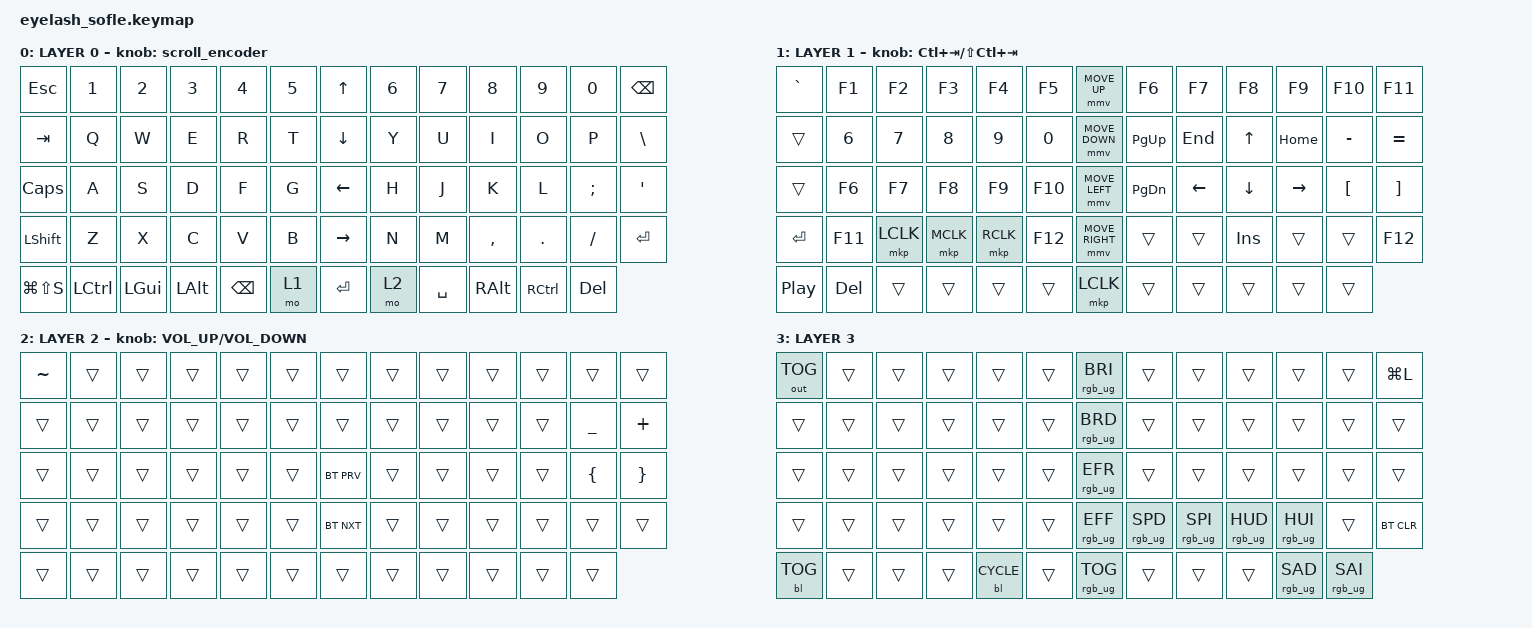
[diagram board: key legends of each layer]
#define ZMK_POINTING_DEFAULT_MOVE_VAL 1200  // 600
#define ZMK_POINTING_DEFAULT_SCRL_VAL 25   // 10

#include <input/processors.dtsi>
#include <zephyr/dt-bindings/input/input-event-codes.h>
#include <behaviors.dtsi>
#include <dt-bindings/zmk/backlight.h>
#include <dt-bindings/zmk/bt.h>
#include <dt-bindings/zmk/keys.h>
#include <dt-bindings/zmk/outputs.h>
#include <dt-bindings/zmk/pointing.h>
#include <dt-bindings/zmk/rgb.h>

&mmv_input_listener { input-processors = <&zip_xy_scaler 2 1>; };

&msc_input_listener { input-processors = <&zip_scroll_scaler 2 1>; };

&msc {
    acceleration-exponent = <1>;      // 0
    time-to-max-speed-ms = <100>;       // 300
    delay-ms = <0>;                   // 0
};

&mmv {
    time-to-max-speed-ms = <500>;
    acceleration-exponent = <1>;
    trigger-period-ms = <16>;
};

/ {

    scroll_encoder: scroll_encoder {
        compatible = "zmk,behavior-sensor-rotate";
        #sensor-binding-cells = <0>;
        bindings = <&msc SCRL_DOWN>, <&msc SCRL_UP>;
        tap-ms = <100>;
    };

    keymap {
        compatible = "zmk,keymap";

        layer0 {
            bindings = <
&kp ESC        &kp N1     &kp N2        &kp N3        &kp N4         &kp N5    &kp UP_ARROW     &kp N6  &kp N7     &kp N8         &kp N9     &kp N0      &kp BACKSPACE
&kp TAB        &kp Q      &kp W         &kp E         &kp R          &kp T     &kp DOWN_ARROW   &kp Y   &kp U      &kp I          &kp O      &kp P       &kp BSLH
&kp CAPS       &kp A      &kp S         &kp D         &kp F          &kp G     &kp LEFT_ARROW   &kp H   &kp J      &kp K          &kp L      &kp SEMI    &kp APOS
&kp LSHFT      &kp Z      &kp X         &kp C         &kp V          &kp B     &kp RIGHT_ARROW  &kp N   &kp M      &kp COMMA      &kp DOT    &kp FSLH    &kp ENTER
&kp LG(LS(S))  &kp LCTRL  &kp LEFT_GUI  &kp LEFT_ALT  &kp BACKSPACE  &mo 1     &kp ENTER        &mo 2   &kp SPACE  &kp RIGHT_ALT  &kp RCTRL  &kp DELETE
            >;

            sensor-bindings = <&scroll_encoder>;
            display-name = "LAYER 0";
        };

        layer_1 {
            bindings = <
&kp GRAVE         &kp F1        &kp F2     &kp F3     &kp F4     &kp F5     &mmv MOVE_UP     &kp F6     &kp F7    &kp F8      &kp F9     &kp F10           &kp F11
&trans            &kp NUMBER_6  &kp N7     &kp N8     &kp N9     &kp N0     &mmv MOVE_DOWN   &kp PG_UP  &kp END   &kp UP      &kp HOME   &kp MINUS         &kp EQUAL
&trans            &kp F6        &kp F7     &kp F8     &kp F9     &kp F10    &mmv MOVE_LEFT   &kp PG_DN  &kp LEFT  &kp DOWN    &kp RIGHT  &kp LEFT_BRACKET  &kp RIGHT_BRACKET
&kp ENTER         &kp F11       &mkp LCLK  &mkp MCLK  &mkp RCLK  &kp F12    &mmv MOVE_RIGHT  &trans     &trans    &kp INSERT  &trans     &trans            &kp F12
&kp C_PLAY_PAUSE  &kp DEL       &trans     &trans     &trans     &trans     &mkp LCLK        &trans     &trans    &trans      &trans     &trans
            >;

            display-name = "LAYER 1";
            sensor-bindings = <&inc_dec_kp LC(TAB) LS(LC(TAB))>;
        };

        layer_2 {
            bindings = <
&kp TILDE  &trans  &trans  &trans  &trans  &trans    &trans      &trans  &trans  &trans  &trans  &trans     &trans
&trans     &trans  &trans  &trans  &trans  &trans    &trans      &trans  &trans  &trans  &trans  &kp UNDER  &kp PLUS
&trans     &trans  &trans  &trans  &trans  &trans    &bt BT_PRV  &trans  &trans  &trans  &trans  &kp LBRC   &kp RBRC
&trans     &trans  &trans  &trans  &trans  &trans    &bt BT_NXT  &trans  &trans  &trans  &trans  &trans     &trans
&trans     &trans  &trans  &trans  &trans  &trans    &trans      &trans  &trans  &trans  &trans  &trans
            >;

            sensor-bindings = <&inc_dec_kp C_VOLUME_UP C_VOLUME_DOWN>;
            display-name = "LAYER 2";
        };

        layer_3 {
            bindings = <
&out OUT_TOG  &trans  &trans  &trans  &trans        &trans    &rgb_ug RGB_BRI  &trans           &trans           &trans           &trans           &trans           &kp LG(L)
&trans        &trans  &trans  &trans  &trans        &trans    &rgb_ug RGB_BRD  &trans           &trans           &trans           &trans           &trans           &trans
&trans        &trans  &trans  &trans  &trans        &trans    &rgb_ug RGB_EFR  &trans           &trans           &trans           &trans           &trans           &trans
&trans        &trans  &trans  &trans  &trans        &trans    &rgb_ug RGB_EFF  &rgb_ug RGB_SPD  &rgb_ug RGB_SPI  &rgb_ug RGB_HUD  &rgb_ug RGB_HUI  &trans           &bt BT_CLR
&bl BL_TOG    &trans  &trans  &trans  &bl BL_CYCLE  &trans    &rgb_ug RGB_TOG  &trans           &trans           &trans           &rgb_ug RGB_SAD  &rgb_ug RGB_SAI
            >;

            display-name = "LAYER 3";
        };
    };

    conditional_layers {
        compatible = "zmk,conditional-layers";

        layers12ON {
            if-layers = <1 2>;
            then-layer = <3>;
        };
    };
};
